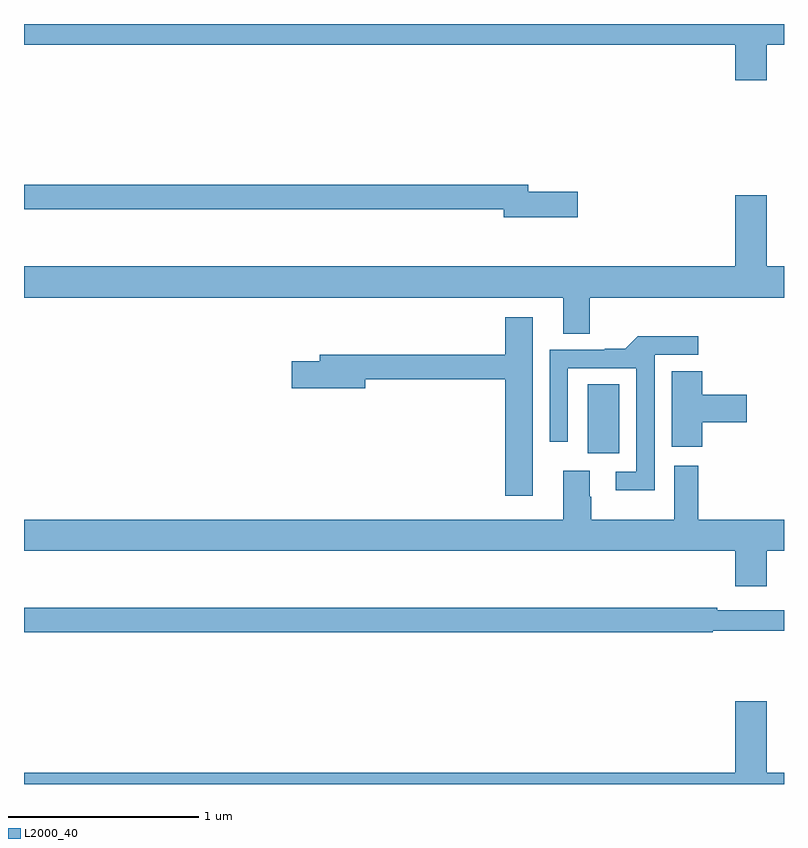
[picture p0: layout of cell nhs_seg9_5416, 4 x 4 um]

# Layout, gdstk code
import gdstk
lib = gdstk.Library(unit=1e-6, precision=1e-09)
def R(c, l, rs):  # rectangles x0, y0, x1, y1
    for r in rs: c.add(gdstk.rectangle(r[:2], r[2:], *l))
def P(c, l, *ps):  # polygons
    for p in ps: c.add(gdstk.Polygon(p, *l))
L2000_40 = (2000, 40)

nhs_seg9_5416 = lib.new_cell('nhs_seg9_5416')
R(nhs_seg9_5416, L2000_40, [(427.967,1222.242,428.134,1222.604)])
P(nhs_seg9_5416, L2000_40, [(428.908,1224.392),(429,1224.392),(429,1224.5),(425,1224.5),(425,1224.392),(428.744,1224.392),(428.744,1224.204),(428.908,1224.204)],
  [(427.915,1223.618),(427.654,1223.618),(427.654,1223.654),(425,1223.654),(425,1223.526),(427.526,1223.526),(427.526,1223.483),(427.915,1223.483)],
  [(427.978,1223.06),(429,1223.06),(429,1223.224),(428.908,1223.224),(428.908,1223.599),(428.744,1223.599),(428.744,1223.224),(425,1223.224),(425,1223.06),(427.838,1223.06),(427.838,1222.87),(427.978,1222.87)],
  [(427.678,1222.957),(427.532,1222.957),(427.532,1222.759),(426.557,1222.759),(426.557,1222.725),(426.408,1222.725),(426.408,1222.583),(426.796,1222.583),(426.796,1222.63),(427.532,1222.63),(427.532,1222.017),(427.678,1222.017)],
  [(428.319,1222.758),(428.548,1222.758),(428.548,1222.856),(428.231,1222.856),(428.165,1222.79),(428.057,1222.79),(428.057,1222.785),(427.767,1222.785),(427.767,1222.302),(427.863,1222.302),(427.863,1222.689),(428.223,1222.689),(428.223,1222.143),(428.115,1222.143),(428.115,1222.046),(428.319,1222.046)],
  [(428.57,1222.403),(428.803,1222.403),(428.803,1222.55),(428.57,1222.55),(428.57,1222.673),(428.408,1222.673),(428.408,1222.275),(428.57,1222.275)],
  [(428.744,1221.54),(428.908,1221.54),(428.908,1221.728),(429,1221.728),(429,1221.892),(428.549,1221.892),(428.549,1222.174),(428.423,1222.174),(428.423,1221.892),(427.986,1221.892),(427.986,1222.013),(427.978,1222.013),(427.978,1222.15),(427.838,1222.15),(427.838,1221.892),(425,1221.892),(425,1221.728),(428.744,1221.728)],
  [(428.626,1221.306),(429,1221.306),(429,1221.414),(428.648,1221.414),(428.648,1221.427),(425,1221.427),(425,1221.298),(428.626,1221.298)],
  [(429,1220.56),(428.908,1220.56),(428.908,1220.935),(428.744,1220.935),(428.744,1220.56),(425,1220.56),(425,1220.5),(429,1220.5)])

lib.write_gds('nhs_seg9_5416.gds')
